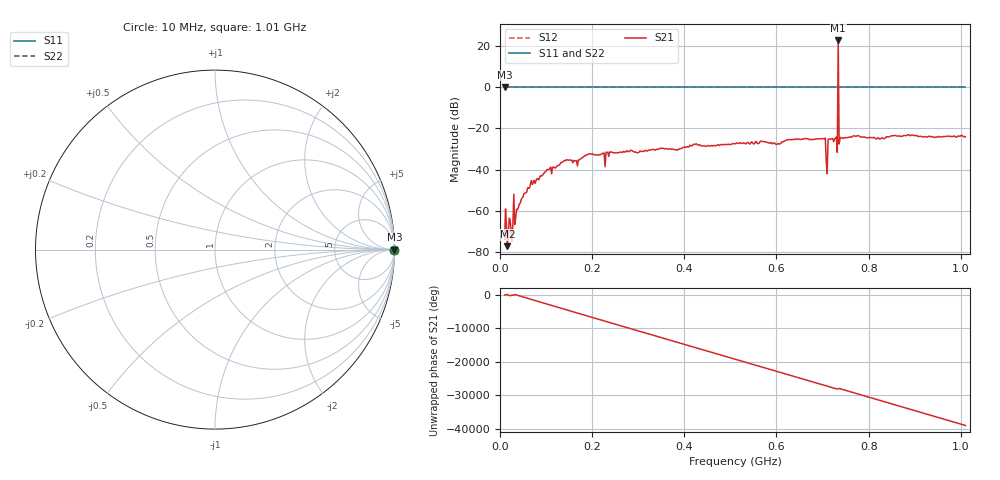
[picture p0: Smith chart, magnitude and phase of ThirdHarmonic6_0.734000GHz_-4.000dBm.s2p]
! 8/16/2025 12:32:59 AM
! C:\ANRITSUVNA\TEMP\TEMP.S2P
! CHANNEL.1
! TR.MEASUREMENT
! RAW.DATA
! RF.CORRECTION.OFF
! AVERAGING.OFF
! IF.BANDWIDTH: 5KHZ
! SWEEPTYPE:  FREQ.SWEEP(Linear)
! Reference Plane Port Info
! PORT:  PORT1  PORT2
! DISTANCE:  0  m  0  m
! TIME:  0  s  0  s
! PHASE.OFFSET:  0  deg.  0  deg.
! LOSS:  0  dB  0  dB
! REF.LOSS:  0  dB  0  dB
! REF.FREQ:  0  Hz  0  Hz
! Power Info
! POWER:  -20  dBm  -20  dBm
! EFF.POWER:  -20  dBm  -20  dBm
! SOURCE.ATTEN:  0  dB  0  dB
! TEST.ATTEN:  0  dB  0  dB
# GHZ S RI R 50.0
! FREQ.GHZ  S11RE  S11IM  S21RE  S21IM  S12RE  S12IM  S22RE  S22IM
!; PortSelection: Port_12
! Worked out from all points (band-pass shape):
!   501 points, 10 MHz to 1.01 GHz, reference 50 ohm
!   highest |S21| = 22.51 dB at 734 MHz (marker M1); lowest = -77.1 dB at 16 MHz (marker M2)
!   |S21| within 3 dB of the highest: 733.8893 MHz to 734.1196 MHz (230.4 kHz wide, 0.0314 % of centre)
!   lowest |S11| = 0.0 dB at 10 MHz (marker M3)
!   |S11| at or under -10 dB: nowhere
!   |S22| runs from 0.0 to 0.0 dB; largest |S21 - S12| = 12
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0.01  1 0  -0.000118 -0.00017  1 0  1 0
0.016  1 0  0.000123 -6.53e-05  1 0  1 0
0.022  1 0  0.000608 -4.35e-05  1 0  1 0
0.034  1 0  0.000194 -0.00065  1 0  1 0
0.036  1 0  -0.000804 -0.000737  1 0  1 0
0.07  1 0  -0.00115 -0.0042  1 0  1 0
0.136  1 0  0.000402 0.0152  1 0  1 0
0.178  1 0  -0.0187 -0.00441  1 0  1 0
0.344  1 0  0.0298 -0.00758  1 0  1 0
0.51  1 0  -0.0391 0.0151  1 0  1 0
0.678  1 0  -0.0252 -0.047  1 0  1 0
0.702  1 0  0.0555 -0.0059  1 0  1 0
0.706  1 0  -0.0561 -0.0137  1 0  1 0
0.712  1 0  0.0347 -0.0406  1 0  1 0
0.716  1 0  -0.0471 0.0273  1 0  1 0
0.728  1 0  0.048 0.0309  1 0  1 0
0.73  1 0  0.0407 -0.0455  1 0  1 0
0.734  1 0  13.11 -2.502  1 0  1 0
0.738  1 0  0.0571 -0.0141  1 0  1 0
0.74  1 0  -0.00539 -0.0592  1 0  1 0
0.844  1 0  0.0457 0.0416  1 0  1 0
1.01  1 0  -0.0602 -0.014  1 0  1 0
